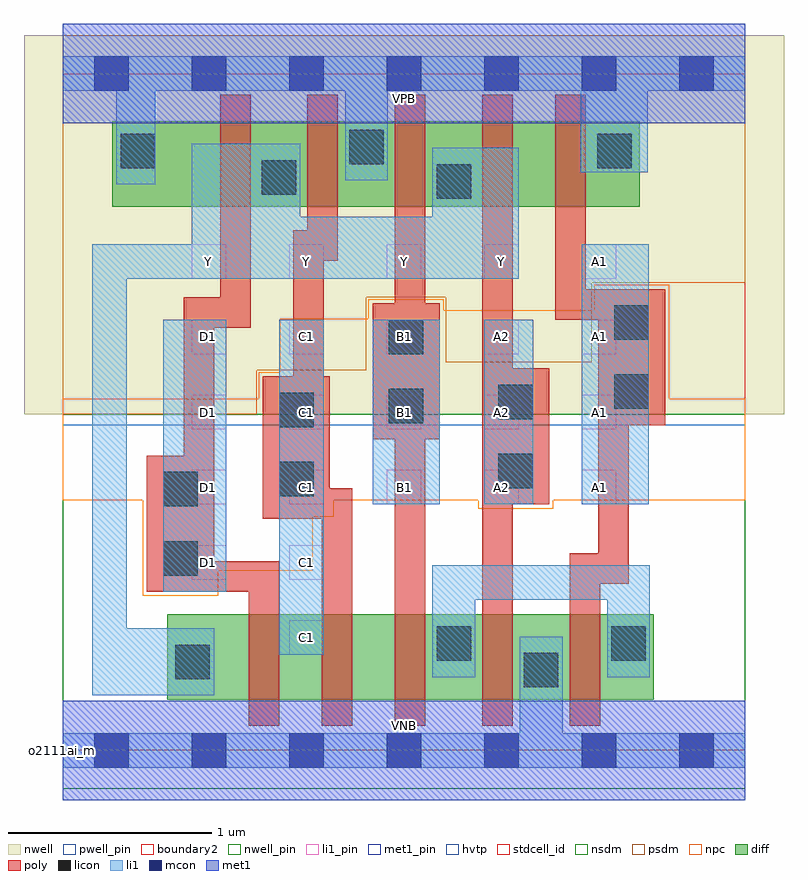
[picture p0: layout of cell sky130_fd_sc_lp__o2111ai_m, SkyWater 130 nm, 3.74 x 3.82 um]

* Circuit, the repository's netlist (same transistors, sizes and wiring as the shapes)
* Copyright 2020 The SkyWater PDK Authors
*
* Licensed under the Apache License, Version 2.0 (the "License");
* you may not use this file except in compliance with the License.
* You may obtain a copy of the License at
*
*     https://www.apache.org/licenses/LICENSE-2.0
*
* Unless required by applicable law or agreed to in writing, software
* distributed under the License is distributed on an "AS IS" BASIS,
* WITHOUT WARRANTIES OR CONDITIONS OF ANY KIND, either express or implied.
* See the License for the specific language governing permissions and
* limitations under the License.
*
* SPDX-License-Identifier: Apache-2.0

.SUBCKT sky130_fd_sc_lp__o2111ai_m A1 A2 B1 C1 D1 VGND VNB VPB VPWR Y
*.PININFO A1:I A2:I B1:I C1:I D1:I VGND:I VNB:I VPB:I VPWR:I Y:O
MMPA0 VPWR A1 sndA1 VPB sky130_fd_pr__pfet_01v8_hvt m=1 w=0.42U l=0.15U mult=1
+ sa=0.265 sb=0.265 sd=0.28 area=0.063 perim=1.14
MMPA1 sndA1 A2 Y VPB sky130_fd_pr__pfet_01v8_hvt m=1 w=0.42U l=0.15U mult=1 sa=0.265
+ sb=0.265 sd=0.28 area=0.063 perim=1.14
MMPB0 VPWR B1 Y VPB sky130_fd_pr__pfet_01v8_hvt m=1 w=0.42U l=0.15U mult=1 sa=0.265
+ sb=0.265 sd=0.28 area=0.063 perim=1.14
MMPC0 VPWR C1 Y VPB sky130_fd_pr__pfet_01v8_hvt m=1 w=0.42U l=0.15U mult=1 sa=0.265
+ sb=0.265 sd=0.28 area=0.063 perim=1.14
MMPD0 VPWR D1 Y VPB sky130_fd_pr__pfet_01v8_hvt m=1 w=0.42U l=0.15U mult=1 sa=0.265
+ sb=0.265 sd=0.28 area=0.063 perim=1.14
MMNA0 pndA A1 VGND VNB sky130_fd_pr__nfet_01v8 m=1 w=0.42U l=0.15U mult=1 sa=0.265
+ sb=0.265 sd=0.28 area=0.063 perim=1.14
MMNA1 pndA A2 VGND VNB sky130_fd_pr__nfet_01v8 m=1 w=0.42U l=0.15U mult=1 sa=0.265
+ sb=0.265 sd=0.28 area=0.063 perim=1.14
MMNB0 pndB B1 pndA VNB sky130_fd_pr__nfet_01v8 m=1 w=0.42U l=0.15U mult=1 sa=0.265
+ sb=0.265 sd=0.28 area=0.063 perim=1.14
MMNC0 pndC C1 pndB VNB sky130_fd_pr__nfet_01v8 m=1 w=0.42U l=0.15U mult=1 sa=0.265
+ sb=0.265 sd=0.28 area=0.063 perim=1.14
MMND0 Y D1 pndC VNB sky130_fd_pr__nfet_01v8 m=1 w=0.42U l=0.15U mult=1 sa=0.265
+ sb=0.265 sd=0.28 area=0.063 perim=1.14
.ENDS sky130_fd_sc_lp__o2111ai_m

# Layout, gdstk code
import gdstk
lib = gdstk.Library(unit=1e-6, precision=1e-09)
def R(c, l, rs):  # rectangles x0, y0, x1, y1
    for r in rs: c.add(gdstk.rectangle(r[:2], r[2:], *l))
def A(c, l, x, y, w, h, nx, ny, dx, dy):  # array of equal rectangles
    R(c, l, [(x+i*dx, y+j*dy, x+i*dx+w, y+j*dy+h) for i in range(nx) for j in range(ny)])
def P(c, l, *ps):  # polygons
    for p in ps: c.add(gdstk.Polygon(p, *l))
nwell_pin = (64, 16)
nwell = (64, 20)
diff = (65, 20)
poly = (66, 20)
licon = (66, 44)
li1_pin = (67, 16)
li1 = (67, 20)
mcon = (67, 44)
met1_pin = (68, 16)
met1 = (68, 20)
hvtp = (78, 44)
stdcell_id = (81, 4)
nsdm = (93, 44)
psdm = (94, 20)
npc = (95, 20)
pwell_pin = (122, 16)
boundary2 = (236, 0)

sky130_fd_sc_lp__o2111ai = lib.new_cell('sky130_fd_sc_lp__o2111ai_m')
R(sky130_fd_sc_lp__o2111ai, nwell_pin, [(0,3.085,3.36,3.33)])
R(sky130_fd_sc_lp__o2111ai, nwell, [(-0.19,1.655,3.55,3.52)])
R(sky130_fd_sc_lp__o2111ai, diff, [(0.515,0.25,2.91,0.67), (0.245,2.675,2.84,3.095)])
P(sky130_fd_sc_lp__o2111ai, poly, [(1.065,0.93),(0.745,0.93),(0.745,2.08),(0.925,2.08),(0.925,3.225),(0.775,3.225),(0.775,2.23),(0.595,2.23),(0.595,1.45),(0.415,1.45),(0.415,0.78),(0.915,0.78),(0.915,0.12),(1.065,0.12)],
  [(1.425,1.29),(1.315,1.29),(1.315,1.84),(1.285,1.84),(1.285,2.41),(1.355,2.41),(1.355,3.225),(1.205,3.225),(1.205,2.56),(1.135,2.56),(1.135,1.84),(0.985,1.84),(0.985,1.14),(1.275,1.14),(1.275,0.12),(1.425,0.12)],
  [(1.855,2.2),(1.785,2.2),(1.785,3.225),(1.635,3.225),(1.635,2.2),(1.525,2.2),(1.525,1.53),(1.635,1.53),(1.635,0.12),(1.785,0.12),(1.785,1.53),(1.855,1.53)],
  [(2.395,1.88),(2.215,1.88),(2.215,3.225),(2.065,3.225),(2.065,0.12),(2.215,0.12),(2.215,1.21),(2.395,1.21)],
  [(2.965,2.27),(2.575,2.27),(2.575,3.225),(2.425,3.225),(2.425,2.12),(2.635,2.12),(2.635,0.97),(2.495,0.97),(2.495,0.12),(2.645,0.12),(2.645,0.82),(2.785,0.82),(2.785,1.6),(2.965,1.6)])
R(sky130_fd_sc_lp__o2111ai, licon, [(2.27,0.31,2.44,0.48), (0.555,0.35,0.725,0.52), (1.84,0.44,2.01,0.61), (2.7,0.44,2.87,0.61), (0.495,0.86,0.665,1.03), (0.495,1.2,0.665,1.37), (1.065,1.25,1.235,1.42), (2.145,1.29,2.315,1.46), (1.065,1.59,1.235,1.76), (1.605,1.61,1.775,1.78), (2.145,1.63,2.315,1.8), (2.715,1.68,2.885,1.85), (1.605,1.95,1.775,2.12), (2.715,2.02,2.885,2.19), (1.84,2.715,2.01,2.885), (0.98,2.735,1.15,2.905), (0.285,2.865,0.455,3.035), (2.63,2.865,2.8,3.035), (1.41,2.885,1.58,3.055)])
A(sky130_fd_sc_lp__o2111ai, li1_pin, 0.635, 1.21, 0.17, 0.17, 5, 4, 0.48, 0.37)
R(sky130_fd_sc_lp__o2111ai, li1_pin, [(1.115,0.47,1.285,0.64), (0.635,0.84,0.805,1.01), (1.115,0.84,1.285,1.01)])
R(sky130_fd_sc_lp__o2111ai, li1, [(1.065,0.47,1.285,2.12), (0.495,0.78,0.805,2.12), (1.525,1.21,1.855,2.12), (2.075,1.21,2.315,2.12), (2.555,1.21,2.885,2.49)])
P(sky130_fd_sc_lp__o2111ai, li1, [(2.55,2.845),(2.55,3.245),(1.6,3.245),(1.6,2.805),(1.39,2.805),(1.39,3.245),(0.455,3.245),(0.455,2.785),(0.265,2.785),(0.265,3.245),(0,3.245),(0,3.415),(3.36,3.415),(3.36,3.245),(2.88,3.245),(2.88,2.845)],
  [(2.25,0.085),(2.25,0.56),(2.46,0.56),(2.46,0.085),(3.36,0.085),(3.36,-0.085),(0,-0.085),(0,0.085)],
  [(2.68,0.36),(2.68,0.74),(2.03,0.74),(2.03,0.36),(1.82,0.36),(1.82,0.91),(2.89,0.91),(2.89,0.36)],
  [(1.82,2.625),(1.82,2.965),(2.245,2.965),(2.245,2.32),(0.315,2.32),(0.315,0.6),(0.745,0.6),(0.745,0.27),(0.145,0.27),(0.145,2.49),(0.635,2.49),(0.635,2.985),(1.17,2.985),(1.17,2.625)])
A(sky130_fd_sc_lp__o2111ai, mcon, 0.155, -0.085, 0.17, 0.17, 7, 2, 0.48, 3.33)
R(sky130_fd_sc_lp__o2111ai, met1_pin, [(0,0,3.36,0.245), (0,3.085,3.36,3.33)])
R(sky130_fd_sc_lp__o2111ai, met1, [(0,-0.245,3.36,0.245), (0,3.085,3.36,3.575)])
R(sky130_fd_sc_lp__o2111ai, hvtp, [(0,1.6,3.36,3.33)])
R(sky130_fd_sc_lp__o2111ai, stdcell_id, [(0,0,3.36,3.33)])
R(sky130_fd_sc_lp__o2111ai, nsdm, [(0,-0.19,3.36,1.655)])
P(sky130_fd_sc_lp__o2111ai, psdm, [(3.36,3.52),(0,3.52),(0,1.655),(0.955,1.655),(0.955,1.87),(1.495,1.87),(1.495,2.23),(1.885,2.23),(1.885,1.91),(2.605,1.91),(2.605,2.3),(3.36,2.3)])
P(sky130_fd_sc_lp__o2111ai, npc, [(3.36,1.73),(2.985,1.73),(2.985,2.29),(2.615,2.29),(2.615,2.165),(1.875,2.165),(1.875,2.22),(1.505,2.22),(1.505,2.125),(1.07,2.125),(1.07,1.86),(0.965,1.86),(0.965,1.73),(0,1.73),(0,1.23),(0.395,1.23),(0.395,0.76),(0.765,0.76),(0.765,0.885),(1.23,0.885),(1.23,1.15),(1.335,1.15),(1.335,1.23),(2.045,1.23),(2.045,1.19),(2.415,1.19),(2.415,1.23),(3.36,1.23)])
R(sky130_fd_sc_lp__o2111ai, pwell_pin, [(0,0,3.36,0.245)])
R(sky130_fd_sc_lp__o2111ai, boundary2, [(0,0,3.36,3.33)])
sky130_fd_sc_lp__o2111ai.add(gdstk.Label('VNB', (1.68,0.123), layer=64, texttype=59))
sky130_fd_sc_lp__o2111ai.add(gdstk.Label('VPB', (1.68,3.208), layer=64, texttype=5))
sky130_fd_sc_lp__o2111ai.add(gdstk.Label('o2111ai_m', (0,0), layer=83, texttype=44))
sky130_fd_sc_lp__o2111ai.add(gdstk.Label('VPWR', (1.68,3.208), layer=68, texttype=5))
sky130_fd_sc_lp__o2111ai.add(gdstk.Label('VGND', (1.68,0.123), layer=68, texttype=5))
sky130_fd_sc_lp__o2111ai.add(gdstk.Label('A1', (2.64,1.295), layer=67, texttype=5))
sky130_fd_sc_lp__o2111ai.add(gdstk.Label('A1', (2.64,1.665), layer=67, texttype=5))
sky130_fd_sc_lp__o2111ai.add(gdstk.Label('A1', (2.64,2.035), layer=67, texttype=5))
sky130_fd_sc_lp__o2111ai.add(gdstk.Label('A1', (2.64,2.405), layer=67, texttype=5))
sky130_fd_sc_lp__o2111ai.add(gdstk.Label('A2', (2.16,1.295), layer=67, texttype=5))
sky130_fd_sc_lp__o2111ai.add(gdstk.Label('A2', (2.16,1.665), layer=67, texttype=5))
sky130_fd_sc_lp__o2111ai.add(gdstk.Label('A2', (2.16,2.035), layer=67, texttype=5))
sky130_fd_sc_lp__o2111ai.add(gdstk.Label('Y', (0.72,2.405), layer=67, texttype=5))
sky130_fd_sc_lp__o2111ai.add(gdstk.Label('Y', (1.2,2.405), layer=67, texttype=5))
sky130_fd_sc_lp__o2111ai.add(gdstk.Label('Y', (1.68,2.405), layer=67, texttype=5))
sky130_fd_sc_lp__o2111ai.add(gdstk.Label('Y', (2.16,2.405), layer=67, texttype=5))
sky130_fd_sc_lp__o2111ai.add(gdstk.Label('B1', (1.68,1.295), layer=67, texttype=5))
sky130_fd_sc_lp__o2111ai.add(gdstk.Label('B1', (1.68,1.665), layer=67, texttype=5))
sky130_fd_sc_lp__o2111ai.add(gdstk.Label('B1', (1.68,2.035), layer=67, texttype=5))
sky130_fd_sc_lp__o2111ai.add(gdstk.Label('D1', (0.72,0.925), layer=67, texttype=5))
sky130_fd_sc_lp__o2111ai.add(gdstk.Label('D1', (0.72,1.295), layer=67, texttype=5))
sky130_fd_sc_lp__o2111ai.add(gdstk.Label('D1', (0.72,1.665), layer=67, texttype=5))
sky130_fd_sc_lp__o2111ai.add(gdstk.Label('D1', (0.72,2.035), layer=67, texttype=5))
sky130_fd_sc_lp__o2111ai.add(gdstk.Label('C1', (1.2,0.555), layer=67, texttype=5))
sky130_fd_sc_lp__o2111ai.add(gdstk.Label('C1', (1.2,0.925), layer=67, texttype=5))
sky130_fd_sc_lp__o2111ai.add(gdstk.Label('C1', (1.2,1.295), layer=67, texttype=5))
sky130_fd_sc_lp__o2111ai.add(gdstk.Label('C1', (1.2,1.665), layer=67, texttype=5))
sky130_fd_sc_lp__o2111ai.add(gdstk.Label('C1', (1.2,2.035), layer=67, texttype=5))

lib.write_gds('sky130_fd_sc_lp__o2111ai_m.gds')
